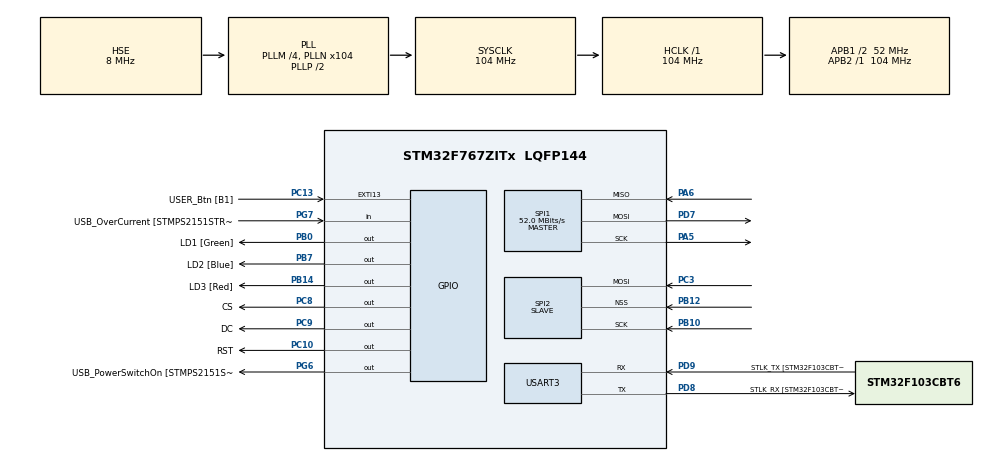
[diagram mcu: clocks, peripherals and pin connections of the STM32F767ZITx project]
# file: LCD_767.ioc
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CORTEX_M7.ART_ACCELERATOR_ENABLE=1
CORTEX_M7.CPU_DCache=Enabled
CORTEX_M7.CPU_ICache=Enabled
CORTEX_M7.Enable_Spec=__NULL
CORTEX_M7.MPU_Control=__NULL
CORTEX_M7.PREFETCH_ENABLE=1
CORTEX_M7.default_mode_Activation=1
Mcu.Family=STM32F7
Mcu.Name=STM32F767ZITx
Mcu.Package=LQFP144
NVIC.PriorityGroup=NVIC_PRIORITYGROUP_4
PA1.GPIO_Label=RMII_REF_CLK [LAN8742A-CZ-TR_REFCLK0]
PA1.Signal=ETH_REF_CLK
PA10.GPIO_Label=USB_ID
PA10.Signal=USB_OTG_FS_ID
PA11.GPIO_Label=USB_DM
PA11.Signal=USB_OTG_FS_DM
PA12.GPIO_Label=USB_DP
PA12.Signal=USB_OTG_FS_DP
PA13.GPIO_Label=TMS
PA13.Mode=Serial_Wire
PA13.Signal=SYS_JTMS-SWDIO
PA14.GPIO_Label=TCK
PA14.Mode=Serial_Wire
PA14.Signal=SYS_JTCK-SWCLK
PA2.GPIO_Label=RMII_MDIO [LAN8742A-CZ-TR_MDIO]
PA2.Signal=ETH_MDIO
PA5.Mode=Full_Duplex_Master
PA5.Signal=SPI1_SCK
PA6.Mode=Full_Duplex_Master
PA6.Signal=SPI1_MISO
PA7.GPIO_Label=RMII_CRS_DV [LAN8742A-CZ-TR_CRS_DV]
PA7.Signal=ETH_CRS_DV
PA8.GPIO_Label=USB_SOF [TP1]
PA8.Signal=USB_OTG_FS_SOF
PA9.GPIO_Label=USB_VBUS
PA9.Signal=USB_OTG_FS_VBUS
PB0.GPIO_Label=LD1 [Green]
PB0.Signal=GPIO_Output
PB10.Mode=RX_Only_Simplex_Unidirect_Slave
PB10.Signal=SPI2_SCK
PB12.Mode=NSS_Signal_Hard_Input
PB12.Signal=SPI2_NSS
PB13.GPIO_Label=RMII_TXD1 [LAN8742A-CZ-TR_TXD1]
PB13.Signal=ETH_TXD1
PB14.GPIO_Label=LD3 [Red]
PB14.Signal=GPIO_Output
PB3.GPIO_Label=SWO
PB3.Signal=SYS_JTDO-SWO
PB7.GPIO_Label=LD2 [Blue]
PB7.Signal=GPIO_Output
PC1.GPIO_Label=RMII_MDC [LAN8742A-CZ-TR_MDC]
PC1.Signal=ETH_MDC
PC10.GPIO_Label=RST
PC10.GPIO_Speed=GPIO_SPEED_FREQ_VERY_HIGH
PC10.Signal=GPIO_Output
PC13.GPIO_Label=USER_Btn [B1]
PC13.Signal=GPXTI13
PC14/OSC32_IN.Mode=LSE-External-Oscillator
PC14/OSC32_IN.Signal=RCC_OSC32_IN
PC15/OSC32_OUT.Mode=LSE-External-Oscillator
PC15/OSC32_OUT.Signal=RCC_OSC32_OUT
PC3.Mode=RX_Only_Simplex_Unidirect_Slave
PC3.Signal=SPI2_MOSI
PC4.GPIO_Label=RMII_RXD0 [LAN8742A-CZ-TR_RXD0]
PC4.Signal=ETH_RXD0
PC5.GPIO_Label=RMII_RXD1 [LAN8742A-CZ-TR_RXD1]
PC5.Signal=ETH_RXD1
PC8.GPIO_Label=CS
PC8.GPIO_Speed=GPIO_SPEED_FREQ_VERY_HIGH
PC8.Signal=GPIO_Output
PC9.GPIO_Label=DC
PC9.GPIO_Speed=GPIO_SPEED_FREQ_VERY_HIGH
PC9.Signal=GPIO_Output
PD7.Mode=Full_Duplex_Master
PD7.Signal=SPI1_MOSI
PD8.GPIO_Label=STLK_RX [STM32F103CBT6_PA3]
PD8.Mode=Asynchronous
PD8.Signal=USART3_TX
PD9.GPIO_Label=STLK_TX [STM32F103CBT6_PA2]
PD9.Mode=Asynchronous
PD9.Signal=USART3_RX
PG11.GPIO_Label=RMII_TX_EN [LAN8742A-CZ-TR_TXEN]
PG11.Signal=ETH_TX_EN
PG13.GPIO_Label=RMII_TXD0 [LAN8742A-CZ-TR_TXD0]
PG13.Signal=ETH_TXD0
PG6.GPIO_Label=USB_PowerSwitchOn [STMPS2151STR_EN]
PG6.Signal=GPIO_Output
PG7.GPIO_Label=USB_OverCurrent [STMPS2151STR_FAULT]
PG7.Signal=GPIO_Input
PH0/OSC_IN.GPIO_Label=MCO [STM32F103CBT6_PA8]
PH0/OSC_IN.Mode=HSE-External-Clock-Source
PH0/OSC_IN.Signal=RCC_OSC_IN
PH1/OSC_OUT.Mode=HSE-External-Clock-Source
PH1/OSC_OUT.Signal=RCC_OSC_OUT
ProjectManager.HeapSize=0x200
ProjectManager.StackSize=0x400
ProjectManager.TargetToolchain=STM32CubeIDE
RCC.48MHZClocksFreq_Value=24000000
RCC.AHBFreq_Value=104000000
RCC.APB1CLKDivider=RCC_HCLK_DIV2
RCC.APB1Freq_Value=52000000
RCC.APB1TimFreq_Value=104000000
RCC.APB2Freq_Value=104000000
RCC.APB2TimFreq_Value=104000000
RCC.CortexFreq_Value=104000000
RCC.HCLKFreq_Value=104000000
RCC.HSE_VALUE=8000000
RCC.HSI_VALUE=16000000
RCC.PLLM=4
RCC.PLLMUL=RCC_PLL_MUL9
RCC.PLLN=104
RCC.PLLQ=4
RCC.PLLSourceVirtual=RCC_PLLSOURCE_HSE
RCC.PRESCALERUSB=RCC_USBCLKSOURCE_PLL_DIV1_5
RCC.SYSCLKFreq_VALUE=104000000
RCC.SYSCLKSource=RCC_SYSCLKSOURCE_PLLCLK
RCC.SYSCLKSourceVirtual=RCC_SYSCLKSOURCE_PLLCLK
RCC.USBFreq_Value=52000000
RCC.VCOOutputFreq_Value=208000000
SPI1.BaudRatePrescaler=SPI_BAUDRATEPRESCALER_2
SPI1.CalculateBaudRate=52.0 MBits/s
SPI1.DataSize=SPI_DATASIZE_8BIT
SPI1.Direction=SPI_DIRECTION_2LINES
SPI1.Mode=SPI_MODE_MASTER
SPI1.NSSPMode=SPI_NSS_PULSE_DISABLE
SPI1.VirtualType=VM_MASTER
SPI2.CLKPhase=SPI_PHASE_2EDGE
SPI2.CLKPolarity=SPI_POLARITY_LOW
SPI2.DataSize=SPI_DATASIZE_8BIT
SPI2.Direction=SPI_DIRECTION_2LINES_RXONLY
SPI2.Mode=SPI_MODE_SLAVE
SPI2.VirtualNSS=VM_NSSHARD
SPI2.VirtualType=VM_SLAVE
TIM1.ClockDivision=TIM_CLOCKDIVISION_DIV2
TIM1.Prescaler=10000
USART3.VirtualMode-Asynchronous=VM_ASYNC
USART3.WordLength=WORDLENGTH_7B
VP_TIM1_VS_ClockSourceINT.Mode=Internal
board=NUCLEO-F767ZI

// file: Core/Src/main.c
/* USER CODE BEGIN Header */
/**
  ******************************************************************************
  * @file           : main.c
  * @brief          : Main program body
  ******************************************************************************
  * @attention
  *
  * Copyright (c) 2025 STMicroelectronics.
  * All rights reserved.
  *
  * This software is licensed under terms that can be found in the LICENSE file
  * in the root directory of this software component.
  * If no LICENSE file comes with this software, it is provided AS-IS.
  *
  ******************************************************************************
  */
/* USER CODE END Header */
#include "main.h"
#include "spi.h"
#include "tim.h"
#include "usart.h"
#include "gpio.h"

/* USER CODE BEGIN Includes */

#include "ILI9341_STM32_Driver.h"
#include "ILI9341_GFX.h"
#include "img_objects.h"
#include <stdio.h>
#include <stdlib.h>
/* USER CODE END Includes */

void SystemClock_Config(void);
/* USER CODE BEGIN PFP */
void DrawCar(uint16_t y);
uint16_t MapY(uint16_t d);
/* USER CODE END PFP */

int main(void)
{

  /* USER CODE BEGIN 1 */
   uint8_t spi_data[6];  // dynamically allocate space

  /* USER CODE END 1 */

  /* Enable the CPU Cache */

  /* Enable I-Cache---------------------------------------------------------*/
  SCB_EnableICache();

  /* Enable D-Cache---------------------------------------------------------*/
  SCB_EnableDCache();

  /* MCU Configuration--------------------------------------------------------*/

  /* Reset of all peripherals, Initializes the Flash interface and the Systick. */
  HAL_Init();

  /* Configure the system clock */
  SystemClock_Config();

  /* Initialize all configured peripherals */
  MX_GPIO_Init();
  MX_USART3_UART_Init();
  MX_SPI1_Init();
  MX_TIM1_Init();
  MX_SPI2_Init();
  /* USER CODE BEGIN 2 */

		ILI9341_Init();//initial driver setup to drive ili9341
		ILI9341_Draw_Image((const char*)road, SCREEN_VERTICAL_1);

//		ILI9341_Draw_Filled_Circle(120, 35, 10, MAROON);
//		ILI9341_Draw_Filled_Rectangle_Coord(100, 0, 140, 40, GREEN);
//	  	ILI9341_Fill_Screen(WHITE);
//		ILI9341_Set_Rotation(SCREEN_HORIZONTAL_2);
  /* USER CODE END 2 */

  /* Infinite loop */
  while (1)
  {

    /* USER CODE BEGIN 3 */
//	  	ILI9341_Fill_Screen(WHITE);

	  	volatile HAL_StatusTypeDef spi_status;
	  	spi_status = HAL_SPI_Receive(FPGA_SPI_INST, spi_data, 6, 1000); // Receive 3x16bit data from SPI

	  	uint16_t* data16 = (uint16_t*) spi_data;
	  	int16_t d_prev, v_prev, a_prev;
	  	uint16_t d = ((data16[2] & 0xFF) << 8) | (data16[2] >> 8);
	  	int16_t v = ((data16[0] & 0xFF) << 8) | (data16[0] >> 8);
	  	int16_t a = ((data16[1] & 0xFF) << 8) | (data16[1] >> 8);

	  	if (d > 2400){
	  			d = 2400;
	  		}

	  	char Temp_Buffer_text[40];

	  	if (abs((int16_t)d_prev - (int16_t)d) > 5){
	  		DrawCar(MapY(d));
	  		ILI9341_Set_Rotation(SCREEN_VERTICAL_2);
	  		if (v == 0){
	  			sprintf(Temp_Buffer_text, "v: %d mm/s", v_prev);
	  		} else {
	  			sprintf(Temp_Buffer_text, "v: %d mm/s", v);
	  			v_prev = v;
	  		}
			ILI9341_Draw_Text(Temp_Buffer_text, 10, 30, BLACK, 1, WHITE);

	  		if (a == 0){
	  			sprintf(Temp_Buffer_text, "a: %d mm/s^2", a_prev);
	  		} else {
	  			sprintf(Temp_Buffer_text, "a: %d mm/s^2", a);
	  			a_prev = a;
	  		}
	  			ILI9341_Draw_Text(Temp_Buffer_text, 10, 50, BLACK, 1, WHITE);
	  		}

	  	d_prev = d;
	  	ILI9341_Set_Rotation(SCREEN_VERTICAL_2);
	    sprintf(Temp_Buffer_text, "d: %d mm", d);
	    ILI9341_Draw_Text(Temp_Buffer_text, 10, 10, BLACK, 1, WHITE);

  }
  /* USER CODE END 3 */
}

void SystemClock_Config(void)
{
  RCC_OscInitTypeDef RCC_OscInitStruct = {0};
  RCC_ClkInitTypeDef RCC_ClkInitStruct = {0};

  /** Configure LSE Drive Capability
  */
  HAL_PWR_EnableBkUpAccess();

  /** Configure the main internal regulator output voltage
  */
  __HAL_RCC_PWR_CLK_ENABLE();
  __HAL_PWR_VOLTAGESCALING_CONFIG(PWR_REGULATOR_VOLTAGE_SCALE3);

  /** Initializes the RCC Oscillators according to the specified parameters
  * in the RCC_OscInitTypeDef structure.
  */
  RCC_OscInitStruct.OscillatorType = RCC_OSCILLATORTYPE_HSE;
  RCC_OscInitStruct.HSEState = RCC_HSE_BYPASS;
  RCC_OscInitStruct.PLL.PLLState = RCC_PLL_ON;
  RCC_OscInitStruct.PLL.PLLSource = RCC_PLLSOURCE_HSE;
  RCC_OscInitStruct.PLL.PLLM = 4;
  RCC_OscInitStruct.PLL.PLLN = 104;
  RCC_OscInitStruct.PLL.PLLP = RCC_PLLP_DIV2;
  RCC_OscInitStruct.PLL.PLLQ = 4;
  RCC_OscInitStruct.PLL.PLLR = 2;
  if (HAL_RCC_OscConfig(&RCC_OscInitStruct) != HAL_OK)
  {
    Error_Handler();
  }

  /** Activate the Over-Drive mode
  */
  if (HAL_PWREx_EnableOverDrive() != HAL_OK)
  {
    Error_Handler();
  }

  /** Initializes the CPU, AHB and APB buses clocks
  */
  RCC_ClkInitStruct.ClockType = RCC_CLOCKTYPE_HCLK|RCC_CLOCKTYPE_SYSCLK
                              |RCC_CLOCKTYPE_PCLK1|RCC_CLOCKTYPE_PCLK2;
  RCC_ClkInitStruct.SYSCLKSource = RCC_SYSCLKSOURCE_PLLCLK;
  RCC_ClkInitStruct.AHBCLKDivider = RCC_SYSCLK_DIV1;
  RCC_ClkInitStruct.APB1CLKDivider = RCC_HCLK_DIV2;
  RCC_ClkInitStruct.APB2CLKDivider = RCC_HCLK_DIV1;

  if (HAL_RCC_ClockConfig(&RCC_ClkInitStruct, FLASH_LATENCY_3) != HAL_OK)
  {
    Error_Handler();
  }
}

/* USER CODE BEGIN 4 */
void DrawCar(uint16_t y){
	ILI9341_Draw_Image((const char*)road, SCREEN_VERTICAL_1);
	ILI9341_Draw_Filled_Rectangle_Coord(100, y, 140, y+80, RED);
	ILI9341_Draw_Filled_Rectangle_Coord(105, y+55, 135, y+75, BLACK);
	ILI9341_Draw_Filled_Rectangle_Coord(105, y+15, 135, y+35, BLACK);
}

uint16_t MapY(uint16_t d){
	uint16_t y;
	uint16_t d_max = 2400;
	uint16_t d_min = 10;

	y = (float)(((float)d-d_min)/(d_max-d_min))*240.0;

	return (uint16_t)y + 60;
}
/* USER CODE END 4 */

void Error_Handler(void)
{
  __disable_irq();
  while (1)
  {
  }
}
